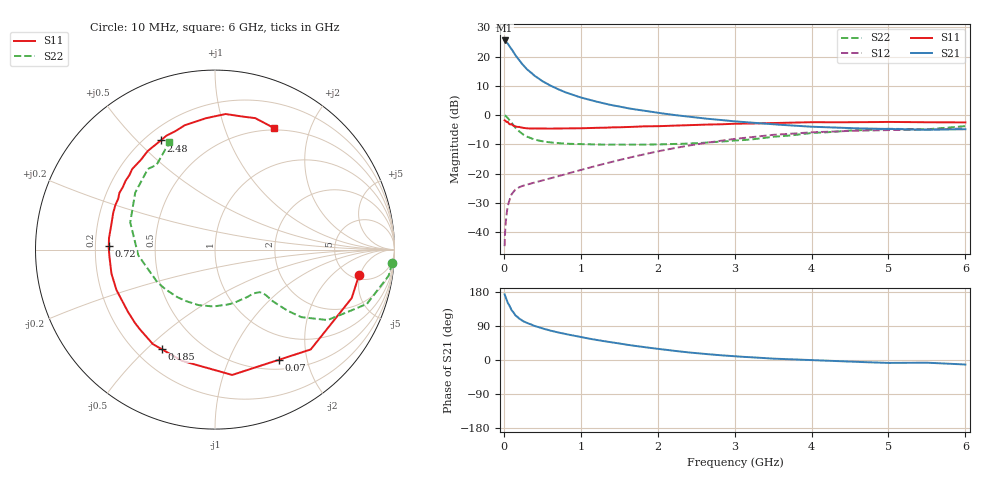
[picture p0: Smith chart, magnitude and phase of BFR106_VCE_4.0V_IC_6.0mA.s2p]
! Infineon Technologies  Discrete & RF Semiconductors
! BFR106
! VCE =  4.0 V,  IC =  6.0 mA
! Common Emitter S-Parameters:  Nov 2015
# GHz  S  MA  R  50
!  f  S11  S21  S12  S22
! GHz  MAG  ANG  MAG  ANG  MAG  ANG  MAG  ANG
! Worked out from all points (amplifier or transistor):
!   210 points, 10 MHz to 6 GHz, reference 50 ohm
!   highest |S21| = 25.5 dB at 10 MHz (marker M1)
!   |S21| within 3 dB of that: start of sweep to 102 MHz
!   unconditionally stable (mu >= 1): 585 MHz to 2.032 GHz; 4.946 GHz to end of sweep
!   at 185 MHz: K = 0.42, MSG = 22.1 dB, |S12| = -24.9 dB
!   at 1.52 GHz: K = 1.10, MAG = 7.1 dB, |S12| = -15.2 dB
!   at 6 GHz: K = 1.02, MAG = -1.0 dB, |S12| = -4.5 dB
!   S11 on the Smith chart (normalised r, x): 10 MHz: 5.69, -4.80; 70 MHz: 0.63, -1.56; 185 MHz: 0.30, -0.56; 720 MHz: 0.26, +0.02; 2.48 GHz: 0.26, +0.59; 6 GHz: 0.48, +1.49
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0.01  0.815 -10.0  18.83 173.2  0.0058 86.2  0.9897 -4.4
0.02  0.8083 -19.5  18.48 168.0  0.0122 80.7  0.9781 -8.6
0.05  0.7707 -46.2  16.73 151.3  0.0277 67.3  0.8988 -19.7
0.07  0.7101 -59.7  15.22 144.5  0.0342 60.2  0.8312 -24.1
0.1  0.7049 -82.2  13.46 131.8  0.0445 53.5  0.7407 -32.0
0.15  0.6465 -106.5  10.55 117.9  0.0536 45.5  0.6113 -38.0
0.185  0.6292 -118.2  9.171 112.3  0.0572 43.2  0.553 -39.4
0.2  0.6301 -123.3  8.614 109.3  0.0588 42.3  0.5281 -40.1
0.26  0.6048 -137.5  6.932 101.5  0.063 40.7  0.4587 -41.3
0.3  0.5961 -144.5  6.08 97.6  0.0652 41.0  0.43 -41.8
0.4  0.5934 -157.7  4.697 89.8  0.0708 42.3  0.3823 -41.8
0.5  0.5922 -167.0  3.808 83.3  0.0767 45.2  0.3564 -42.4
0.6  0.5893 -174.7  3.224 77.8  0.0831 48.0  0.3424 -43.9
0.72  0.5922 178.0  2.725 72.1  0.0917 51.3  0.3319 -46.6
1.02  0.5975 163.6  1.971 59.7  0.1176 57.4  0.3202 -54.8
1.4  0.6193 149.3  1.485 46.6  0.1587 61.2  0.3151 -69.1
2.02  0.6487 129.4  1.089 28.9  0.2434 59.5  0.3168 -97.8
2.48  0.6793 116.4  0.919 18.5  0.314 54.1  0.3311 -122.3
3.1  0.7154 101.7  0.766 8.5  0.4053 43.8  0.3745 -156.0
4.1  0.7567 84.2  0.628 -1.2  0.5146 24.8  0.502 158.4
5.1  0.7635 71.9  0.577 -7.6  0.5588 8.8  0.5819 128.8
6  0.7516 64.0  0.575 -11.9  0.5945 -2.3  0.6499 113.0
